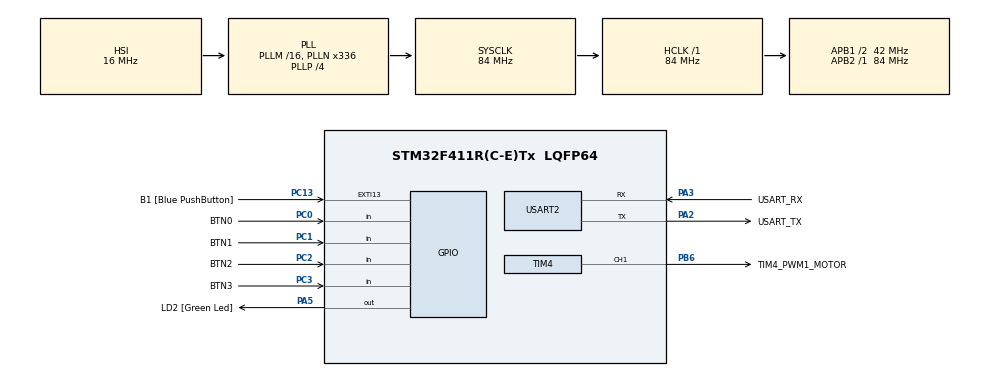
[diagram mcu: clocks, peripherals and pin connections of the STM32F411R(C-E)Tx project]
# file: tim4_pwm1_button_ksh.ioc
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Mcu.Family=STM32F4
Mcu.Name=STM32F411R(C-E)Tx
Mcu.Package=LQFP64
NVIC.PriorityGroup=NVIC_PRIORITYGROUP_0
NVIC.TIM4_IRQn=true\:0\:0\:false\:false\:true\:true\:true\:true
PA13.GPIO_Label=TMS
PA13.Mode=Serial_Wire
PA13.Signal=SYS_JTMS-SWDIO
PA14.GPIO_Label=TCK
PA14.Mode=Serial_Wire
PA14.Signal=SYS_JTCK-SWCLK
PA2.GPIO_Label=USART_TX
PA2.Mode=Asynchronous
PA2.Signal=USART2_TX
PA3.GPIO_Label=USART_RX
PA3.Mode=Asynchronous
PA3.Signal=USART2_RX
PA5.GPIO_Label=LD2 [Green Led]
PA5.Signal=GPIO_Output
PB3.GPIO_Label=SWO
PB3.Signal=SYS_JTDO-SWO
PB6.GPIO_Label=TIM4_PWM1_MOTOR
PB6.Signal=S_TIM4_CH1
PC0.GPIO_Label=BTN0
PC0.Signal=GPIO_Input
PC1.GPIO_Label=BTN1
PC1.Signal=GPIO_Input
PC13-ANTI_TAMP.GPIO_Label=B1 [Blue PushButton]
PC13-ANTI_TAMP.GPIO_ModeDefaultEXTI=GPIO_MODE_IT_FALLING
PC13-ANTI_TAMP.Signal=GPXTI13
PC14-OSC32_IN.Mode=LSE-External-Oscillator
PC14-OSC32_IN.Signal=RCC_OSC32_IN
PC15-OSC32_OUT.Mode=LSE-External-Oscillator
PC15-OSC32_OUT.Signal=RCC_OSC32_OUT
PC2.GPIO_Label=BTN2
PC2.Signal=GPIO_Input
PC3.GPIO_Label=BTN3
PC3.Signal=GPIO_Input
PH0\ -\ OSC_IN.Mode=HSE-External-Clock-Source
PH0\ -\ OSC_IN.Signal=RCC_OSC_IN
PH1\ -\ OSC_OUT.Mode=HSE-External-Clock-Source
PH1\ -\ OSC_OUT.Signal=RCC_OSC_OUT
ProjectManager.HeapSize=0x200
ProjectManager.StackSize=0x400
ProjectManager.TargetToolchain=STM32CubeIDE
RCC.48MHZClocksFreq_Value=84000000
RCC.AHBFreq_Value=84000000
RCC.APB1CLKDivider=RCC_HCLK_DIV2
RCC.APB1Freq_Value=42000000
RCC.APB1TimFreq_Value=84000000
RCC.APB2Freq_Value=84000000
RCC.APB2TimFreq_Value=84000000
RCC.CortexFreq_Value=84000000
RCC.FLatency-AdvancedSettings=FLASH_LATENCY_2
RCC.HCLKFreq_Value=84000000
RCC.HSE_VALUE=8000000
RCC.HSI_VALUE=16000000
RCC.PLLN=336
RCC.PLLP=RCC_PLLP_DIV4
RCC.SYSCLKFreq_VALUE=84000000
RCC.SYSCLKSource=RCC_SYSCLKSOURCE_PLLCLK
RCC.VCOOutputFreq_Value=336000000
SH.S_TIM4_CH1.0=TIM4_CH1,PWM Generation1 CH1
TIM4.AutoReloadPreload=TIM_AUTORELOAD_PRELOAD_ENABLE
TIM4.Channel-PWM\ Generation1\ CH1=TIM_CHANNEL_1
TIM4.Period=1000-1
TIM4.Prescaler=84-1
TIM4.Pulse-PWM\ Generation1\ CH1=500-1
USART2.VirtualMode=VM_ASYNC
VP_TIM4_VS_ClockSourceINT.Mode=Internal
board=NUCLEO-F411RE

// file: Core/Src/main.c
/* USER CODE BEGIN Header */
/**
  ******************************************************************************
  * @file           : main.c
  * @brief          : Main program body
  ******************************************************************************
  * @attention
  *
  * Copyright (c) 2025 STMicroelectronics.
  * All rights reserved.
  *
  * This software is licensed under terms that can be found in the LICENSE file
  * in the root directory of this software component.
  * If no LICENSE file comes with this software, it is provided AS-IS.
  *
  ******************************************************************************
  */
/* USER CODE END Header */
#include "main.h"

/* USER CODE BEGIN Includes */
#include <stdio.h>
/* USER CODE END Includes */

/* USER CODE BEGIN PD */
#ifdef __GNUC__
/* With GCC, small printf (option LD Linker->Libraries->Small printf
   set to 'Yes') calls __io_putchar() */
#define PUTCHAR_PROTOTYPE int __io_putchar(int ch)
#else
#define PUTCHAR_PROTOTYPE int fputc(int ch, FILE *f)
#endif /* __GNUC__ */
/* USER CODE END PD */

TIM_HandleTypeDef htim4;

UART_HandleTypeDef huart2;

/* USER CODE BEGIN PV */
volatile int time3SecFlag = 0;
volatile unsigned int time3SecCnt=0;
volatile unsigned int time3Cnt = 0;
volatile int time3CntFlag = 1;
volatile int time3_100msFlag=0;
/* USER CODE END PV */

void SystemClock_Config(void);
static void MX_GPIO_Init(void);
static void MX_USART2_UART_Init(void);
static void MX_TIM4_Init(void);

int main(void)
{

  /* USER CODE BEGIN 1 */
	int pluse = 0;
  /* USER CODE END 1 */

  /* MCU Configuration--------------------------------------------------------*/

  /* Reset of all peripherals, Initializes the Flash interface and the Systick. */
  HAL_Init();

  /* Configure the system clock */
  SystemClock_Config();

  /* Initialize all configured peripherals */
  MX_GPIO_Init();
  MX_USART2_UART_Init();
  MX_TIM4_Init();
  /* USER CODE BEGIN 2 */
  if(HAL_TIM_Base_Start_IT(&htim4) != HAL_OK)
	  Error_Handler();
  if(HAL_TIM_PWM_Start(&htim4,TIM_CHANNEL_1) != HAL_OK)
	  Error_Handler();
  /* USER CODE END 2 */

  /* Infinite loop */
  /* USER CODE BEGIN WHILE */
  while (1)
  {

//	  HAL_GPIO_WritePin(LD2_GPIO_Port,LD2_Pin,HAL_GPIO_ReadPin(BTN3_GPIO_Port,BTN3_Pin));
	  if(time3SecFlag)
	  {
		  HAL_GPIO_TogglePin(LD2_GPIO_Port,LD2_Pin);
		  time3SecFlag = 0;
		  printf("time3SecCnt : %d, pluse : %d\r\n",time3SecCnt,pluse);
	  }
	  if(time3_100msFlag)
	  {
		  time3_100msFlag = 0;
		  if(pluse < 1000)
		  {
			  pluse += 10;
			  __HAL_TIM_SetCompare(&htim4,TIM_CHANNEL_1, pluse);
		  }
		  else if(pluse == 1000)
		  {
			  pluse = 0;
			  __HAL_TIM_SetCompare(&htim4,TIM_CHANNEL_1, pluse);
		  }
		  printf("time3SecCnt : %d, pluse : %d\r\n",time3SecCnt,pluse);
	  }

    /* USER CODE END WHILE */

  }
}

void SystemClock_Config(void)
{
  RCC_OscInitTypeDef RCC_OscInitStruct = {0};
  RCC_ClkInitTypeDef RCC_ClkInitStruct = {0};

  /** Configure the main internal regulator output voltage
  */
  __HAL_RCC_PWR_CLK_ENABLE();
  __HAL_PWR_VOLTAGESCALING_CONFIG(PWR_REGULATOR_VOLTAGE_SCALE1);

  /** Initializes the RCC Oscillators according to the specified parameters
  * in the RCC_OscInitTypeDef structure.
  */
  RCC_OscInitStruct.OscillatorType = RCC_OSCILLATORTYPE_HSI;
  RCC_OscInitStruct.HSIState = RCC_HSI_ON;
  RCC_OscInitStruct.HSICalibrationValue = RCC_HSICALIBRATION_DEFAULT;
  RCC_OscInitStruct.PLL.PLLState = RCC_PLL_ON;
  RCC_OscInitStruct.PLL.PLLSource = RCC_PLLSOURCE_HSI;
  RCC_OscInitStruct.PLL.PLLM = 16;
  RCC_OscInitStruct.PLL.PLLN = 336;
  RCC_OscInitStruct.PLL.PLLP = RCC_PLLP_DIV4;
  RCC_OscInitStruct.PLL.PLLQ = 4;
  if (HAL_RCC_OscConfig(&RCC_OscInitStruct) != HAL_OK)
  {
    Error_Handler();
  }

  /** Initializes the CPU, AHB and APB buses clocks
  */
  RCC_ClkInitStruct.ClockType = RCC_CLOCKTYPE_HCLK|RCC_CLOCKTYPE_SYSCLK
                              |RCC_CLOCKTYPE_PCLK1|RCC_CLOCKTYPE_PCLK2;
  RCC_ClkInitStruct.SYSCLKSource = RCC_SYSCLKSOURCE_PLLCLK;
  RCC_ClkInitStruct.AHBCLKDivider = RCC_SYSCLK_DIV1;
  RCC_ClkInitStruct.APB1CLKDivider = RCC_HCLK_DIV2;
  RCC_ClkInitStruct.APB2CLKDivider = RCC_HCLK_DIV1;

  if (HAL_RCC_ClockConfig(&RCC_ClkInitStruct, FLASH_LATENCY_2) != HAL_OK)
  {
    Error_Handler();
  }
}

static void MX_TIM4_Init(void)
{

  TIM_ClockConfigTypeDef sClockSourceConfig = {0};
  TIM_MasterConfigTypeDef sMasterConfig = {0};
  TIM_OC_InitTypeDef sConfigOC = {0};

  htim4.Instance = TIM4;
  htim4.Init.Prescaler = 84-1;
  htim4.Init.CounterMode = TIM_COUNTERMODE_UP;
  htim4.Init.Period = 1000-1;
  htim4.Init.ClockDivision = TIM_CLOCKDIVISION_DIV1;
  htim4.Init.AutoReloadPreload = TIM_AUTORELOAD_PRELOAD_ENABLE;
  if (HAL_TIM_Base_Init(&htim4) != HAL_OK)
  {
    Error_Handler();
  }
  sClockSourceConfig.ClockSource = TIM_CLOCKSOURCE_INTERNAL;
  if (HAL_TIM_ConfigClockSource(&htim4, &sClockSourceConfig) != HAL_OK)
  {
    Error_Handler();
  }
  if (HAL_TIM_PWM_Init(&htim4) != HAL_OK)
  {
    Error_Handler();
  }
  sMasterConfig.MasterOutputTrigger = TIM_TRGO_RESET;
  sMasterConfig.MasterSlaveMode = TIM_MASTERSLAVEMODE_DISABLE;
  if (HAL_TIMEx_MasterConfigSynchronization(&htim4, &sMasterConfig) != HAL_OK)
  {
    Error_Handler();
  }
  sConfigOC.OCMode = TIM_OCMODE_PWM1;
  sConfigOC.Pulse = 500-1;
  sConfigOC.OCPolarity = TIM_OCPOLARITY_HIGH;
  sConfigOC.OCFastMode = TIM_OCFAST_DISABLE;
  if (HAL_TIM_PWM_ConfigChannel(&htim4, &sConfigOC, TIM_CHANNEL_1) != HAL_OK)
  {
    Error_Handler();
  }
  HAL_TIM_MspPostInit(&htim4);

}

static void MX_USART2_UART_Init(void)
{

  huart2.Instance = USART2;
  huart2.Init.BaudRate = 115200;
  huart2.Init.WordLength = UART_WORDLENGTH_8B;
  huart2.Init.StopBits = UART_STOPBITS_1;
  huart2.Init.Parity = UART_PARITY_NONE;
  huart2.Init.Mode = UART_MODE_TX_RX;
  huart2.Init.HwFlowCtl = UART_HWCONTROL_NONE;
  huart2.Init.OverSampling = UART_OVERSAMPLING_16;
  if (HAL_UART_Init(&huart2) != HAL_OK)
  {
    Error_Handler();
  }

}

static void MX_GPIO_Init(void)
{
  GPIO_InitTypeDef GPIO_InitStruct = {0};

  /* GPIO Ports Clock Enable */
  __HAL_RCC_GPIOC_CLK_ENABLE();
  __HAL_RCC_GPIOH_CLK_ENABLE();
  __HAL_RCC_GPIOA_CLK_ENABLE();
  __HAL_RCC_GPIOB_CLK_ENABLE();

  /*Configure GPIO pin Output Level */
  HAL_GPIO_WritePin(LD2_GPIO_Port, LD2_Pin, GPIO_PIN_RESET);

  /*Configure GPIO pin : B1_Pin */
  GPIO_InitStruct.Pin = B1_Pin;
  GPIO_InitStruct.Mode = GPIO_MODE_IT_FALLING;
  GPIO_InitStruct.Pull = GPIO_NOPULL;
  HAL_GPIO_Init(B1_GPIO_Port, &GPIO_InitStruct);

  /*Configure GPIO pins : BTN0_Pin BTN1_Pin BTN2_Pin BTN3_Pin */
  GPIO_InitStruct.Pin = BTN0_Pin|BTN1_Pin|BTN2_Pin|BTN3_Pin;
  GPIO_InitStruct.Mode = GPIO_MODE_INPUT;
  GPIO_InitStruct.Pull = GPIO_NOPULL;
  HAL_GPIO_Init(GPIOC, &GPIO_InitStruct);

  /*Configure GPIO pin : LD2_Pin */
  GPIO_InitStruct.Pin = LD2_Pin;
  GPIO_InitStruct.Mode = GPIO_MODE_OUTPUT_PP;
  GPIO_InitStruct.Pull = GPIO_NOPULL;
  GPIO_InitStruct.Speed = GPIO_SPEED_FREQ_LOW;
  HAL_GPIO_Init(LD2_GPIO_Port, &GPIO_InitStruct);

}

/* USER CODE BEGIN 4 */
void HAL_TIM_PeriodElapsedCallback(TIM_HandleTypeDef *htim)
{
	if(htim->Instance == TIM4)
	{
		time3CntFlag = 1;
		time3Cnt++;
		if(!(time3Cnt % 100))	//1ms * 100 = 100ms
			time3_100msFlag = 1;
		if(time3Cnt >= 1000)	// 1ms * 1000 = 1Sec
		{
			time3SecCnt++;
			time3SecFlag = 1;
			time3Cnt = 0;
		}
	}
}
/**
  * @brief  Retargets the C library printf function to the USART.
  * @param  None
  * @retval None
  */
PUTCHAR_PROTOTYPE
{
  /* Place your implementation of fputc here */
  /* e.g. write a character to the USART6 and Loop until the end of transmission */
  HAL_UART_Transmit(&huart2, (uint8_t *)&ch, 1, 0xFFFF);

  return ch;
}
/* USER CODE END 4 */

void Error_Handler(void)
{
  /* USER CODE BEGIN Error_Handler_Debug */
  /* User can add his own implementation to report the HAL error return state */
  __disable_irq();
  while (1)
  {
	  printf("Error_Handler()\r\n");
  }
  /* USER CODE END Error_Handler_Debug */
}
